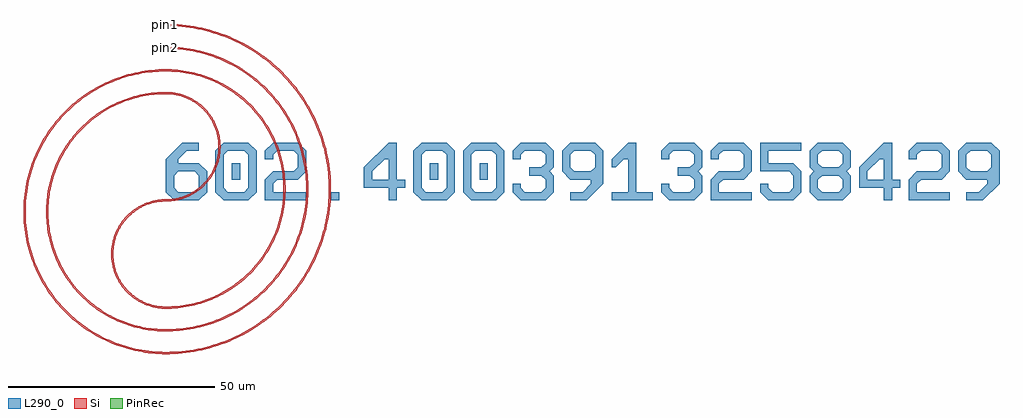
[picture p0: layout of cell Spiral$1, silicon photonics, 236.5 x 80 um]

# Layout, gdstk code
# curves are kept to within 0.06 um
import gdstk
lib = gdstk.Library(unit=1e-6, precision=1e-09)
def R(c, l, rs):  # rectangles x0, y0, x1, y1
    for r in rs: c.add(gdstk.rectangle(r[:2], r[2:], *l))
def P(c, l, *ps):  # polygons
    for p in ps: c.add(gdstk.Polygon(p, *l))
Si = (1, 0)
PinRec = (1, 10)
L290_0 = (290, 0)

spiral_1 = lib.new_cell('Spiral$1')
P(spiral_1, Si, [(0,-0.25),(0,0.25),(1.25,0.311),(2.794,0.56),(4.295,0.995),(5.451,1.474),(7.342,2.576),(8.328,3.346),(9.234,4.208),(10.051,5.156),(10.772,6.179),(11.389,7.267),(11.896,8.411),(12.505,10.513),(12.689,11.75),(12.75,13),(12.689,14.25),(12.505,15.487),(11.896,17.589),(11.389,18.733),(10.772,19.821),(10.051,20.844),(9.234,21.792),(8.328,22.654),(7.342,23.424),(5.451,24.526),(4.295,25.005),(2.794,25.44),(1.25,25.689),(0,25.75),(0,26.25),(1.299,26.186),(2.585,25.995),(3.846,25.679),(5.071,25.241),(6.246,24.685),(7.361,24.017),(8.406,23.242),(9.369,22.369),(10.242,21.406),(11.017,20.361),(11.685,19.246),(12.241,18.071),(12.679,16.846),(12.995,15.585),(13.186,14.299),(13.25,13),(13.186,11.701),(12.995,10.415),(12.679,9.154),(12.241,7.929),(11.685,6.754),(11.017,5.639),(10.242,4.594),(9.369,3.631),(8.406,2.758),(7.361,1.983),(6.246,1.315),(5.071,0.759),(3.846,0.321),(2.585,0.005),(1.299,-0.186)],
  [(0,-26.25),(-1.299,-26.186),(-2.585,-25.995),(-3.846,-25.679),(-5.071,-25.241),(-6.246,-24.685),(-7.361,-24.017),(-8.406,-23.242),(-9.369,-22.369),(-10.242,-21.406),(-11.017,-20.361),(-11.685,-19.246),(-12.241,-18.071),(-12.679,-16.846),(-12.995,-15.585),(-13.186,-14.299),(-13.25,-13),(-13.186,-11.701),(-12.928,-10.097),(-12.581,-8.844),(-11.978,-7.335),(-11.365,-6.188),(-10.446,-4.848),(-9.596,-3.864),(-8.655,-2.967),(-7.629,-2.167),(-6.531,-1.471),(-5.369,-0.887),(-4.156,-0.419),(-1.944,0.107),(1.25,0.311),(2.794,0.56),(4.589,1.104),(6.284,1.906),(8.089,3.144),(9.016,3.984),(9.856,4.911),(11.094,6.716),(11.656,7.833),(12.106,9.001),(12.44,10.206),(12.689,11.75),(12.746,13.313),(12.612,14.871),(12.368,16.098),(11.896,17.589),(11.244,19.01),(10.424,20.342),(9.654,21.328),(8.562,22.447),(7.342,23.424),(6.284,24.094),(4.589,24.896),(3.098,25.368),(1.561,25.654),(0,25.75),(0,26.25),(1.299,26.186),(2.585,25.995),(3.846,25.679),(5.071,25.241),(6.246,24.685),(7.361,24.017),(8.406,23.242),(9.369,22.369),(10.242,21.406),(11.017,20.361),(11.685,19.246),(12.241,18.071),(12.679,16.846),(12.995,15.585),(13.186,14.299),(13.25,13),(13.186,11.701),(12.928,10.097),(12.581,8.844),(11.978,7.335),(11.365,6.188),(10.446,4.848),(9.596,3.864),(8.655,2.967),(7.629,2.167),(6.531,1.471),(5.369,0.887),(4.156,0.419),(1.944,-0.107),(-1.25,-0.311),(-2.794,-0.56),(-4.589,-1.104),(-6.284,-1.906),(-8.089,-3.144),(-9.016,-3.984),(-9.856,-4.911),(-11.094,-6.716),(-11.656,-7.833),(-12.106,-9.001),(-12.44,-10.206),(-12.689,-11.75),(-12.746,-13.313),(-12.612,-14.871),(-12.368,-16.098),(-11.896,-17.589),(-11.244,-19.01),(-10.424,-20.342),(-9.654,-21.328),(-8.562,-22.447),(-7.342,-23.424),(-6.284,-24.094),(-4.589,-24.896),(-3.098,-25.368),(-1.561,-25.654),(0,-25.75)],
  [(0,-26.25),(0,-25.75),(1.398,-25.716),(3.489,-25.536),(6.244,-25.058),(8.94,-24.312),(11.549,-23.305),(13.435,-22.385),(15.834,-20.947),(18.08,-19.281),(20.153,-17.403),(22.031,-15.33),(23.697,-13.084),(25.135,-10.685),(26.331,-8.156),(27.273,-5.523),(27.952,-2.81),(28.363,-0.043),(28.5,2.75),(28.363,5.543),(27.952,8.31),(27.273,11.023),(26.331,13.656),(25.135,16.185),(23.697,18.584),(22.031,20.83),(20.153,22.903),(18.08,24.781),(15.834,26.447),(13.435,27.885),(11.549,28.805),(8.94,29.812),(6.244,30.558),(3.489,31.036),(1.398,31.216),(0,31.25),(0,31.75),(2.842,31.61),(5.658,31.193),(8.418,30.501),(11.098,29.543),(13.671,28.326),(16.112,26.863),(18.397,25.167),(20.506,23.256),(22.417,21.147),(24.113,18.862),(25.576,16.421),(26.793,13.848),(27.751,11.168),(28.443,8.408),(28.86,5.592),(29,2.75),(28.86,-0.092),(28.443,-2.908),(27.751,-5.668),(26.793,-8.348),(25.576,-10.921),(24.113,-13.362),(22.417,-15.647),(20.506,-17.756),(18.397,-19.667),(16.112,-21.363),(13.671,-22.826),(11.098,-24.043),(8.418,-25.001),(5.658,-25.693),(2.842,-26.11)],
  [(0,-31.75),(-2.842,-31.61),(-5.658,-31.193),(-8.418,-30.501),(-11.098,-29.543),(-13.671,-28.326),(-16.112,-26.863),(-18.397,-25.167),(-20.506,-23.256),(-22.417,-21.147),(-24.113,-18.862),(-25.576,-16.421),(-26.793,-13.848),(-27.751,-11.168),(-28.443,-8.408),(-28.86,-5.592),(-29,-2.75),(-28.86,0.092),(-28.443,2.908),(-27.751,5.668),(-26.793,8.348),(-25.576,10.921),(-24.113,13.362),(-22.417,15.647),(-20.506,17.756),(-18.397,19.667),(-16.112,21.363),(-13.671,22.826),(-11.098,24.043),(-8.418,25.001),(-5.658,25.693),(-2.842,26.11),(0,26.25),(0,25.75),(-1.398,25.716),(-3.489,25.536),(-6.244,25.058),(-8.94,24.312),(-11.549,23.305),(-13.435,22.385),(-15.834,20.947),(-18.08,19.281),(-20.153,17.403),(-22.031,15.33),(-23.697,13.084),(-25.135,10.685),(-26.331,8.156),(-27.273,5.523),(-27.952,2.81),(-28.363,0.043),(-28.5,-2.75),(-28.363,-5.543),(-27.952,-8.31),(-27.273,-11.023),(-26.331,-13.656),(-25.135,-16.185),(-23.697,-18.584),(-22.031,-20.83),(-20.153,-22.903),(-18.08,-24.781),(-15.834,-26.447),(-13.435,-27.885),(-11.549,-28.805),(-8.94,-29.812),(-6.244,-30.558),(-3.489,-31.036),(-1.398,-31.216),(0,-31.25)],
  [(0,-31.75),(0,-31.25),(2.501,-31.158),(4.162,-30.994),(6.633,-30.597),(8.261,-30.231),(10.665,-29.534),(13.778,-28.333),(16.759,-26.833),(18.889,-25.52),(21.569,-23.532),(24.042,-21.292),(26.282,-18.819),(28.27,-16.139),(29.985,-13.277),(31.412,-10.261),(32.536,-7.12),(33.347,-3.883),(33.836,-0.583),(34,2.75),(33.836,6.083),(33.347,9.383),(32.536,12.62),(31.412,15.761),(29.985,18.777),(28.27,21.639),(26.282,24.319),(24.042,26.792),(21.569,29.032),(18.889,31.02),(16.759,32.333),(13.778,33.833),(10.665,35.034),(8.261,35.731),(6.633,36.097),(4.162,36.494),(2.501,36.658),(0,36.75),(0,37.25),(3.382,37.084),(6.731,36.587),(10.015,35.764),(13.203,34.624),(16.263,33.176),(19.167,31.436),(21.887,29.419),(24.395,27.145),(26.669,24.637),(28.686,21.917),(30.426,19.013),(31.874,15.953),(33.014,12.765),(33.837,9.481),(34.334,6.132),(34.5,2.75),(34.334,-0.632),(33.837,-3.981),(33.014,-7.265),(31.874,-10.453),(30.426,-13.513),(28.686,-16.417),(26.669,-19.137),(24.395,-21.645),(21.887,-23.919),(19.167,-25.936),(16.263,-27.676),(13.203,-29.124),(10.015,-30.264),(6.731,-31.087),(3.382,-31.584)],
  [(0,-37.25),(-3.382,-37.084),(-6.731,-36.587),(-10.015,-35.764),(-13.203,-34.624),(-16.263,-33.176),(-19.167,-31.436),(-21.887,-29.419),(-24.395,-27.145),(-26.669,-24.637),(-28.686,-21.917),(-30.426,-19.013),(-31.874,-15.953),(-33.014,-12.765),(-33.837,-9.481),(-34.334,-6.132),(-34.5,-2.75),(-34.334,0.632),(-33.837,3.981),(-33.014,7.265),(-31.874,10.453),(-30.426,13.513),(-28.686,16.417),(-26.669,19.137),(-24.395,21.645),(-21.887,23.919),(-19.167,25.936),(-16.263,27.676),(-13.203,29.124),(-10.015,30.264),(-6.731,31.087),(-3.382,31.584),(0,31.75),(0,31.25),(-2.501,31.158),(-4.162,30.994),(-6.633,30.597),(-8.261,30.231),(-10.665,29.534),(-13.778,28.333),(-16.759,26.833),(-18.889,25.52),(-21.569,23.532),(-24.042,21.292),(-26.282,18.819),(-28.27,16.139),(-29.985,13.277),(-31.412,10.261),(-32.536,7.12),(-33.347,3.883),(-33.836,0.583),(-34,-2.75),(-33.836,-6.083),(-33.347,-9.383),(-32.536,-12.62),(-31.412,-15.761),(-29.985,-18.777),(-28.27,-21.639),(-26.282,-24.319),(-24.042,-26.792),(-21.569,-29.032),(-18.889,-31.02),(-16.759,-32.333),(-13.778,-33.833),(-10.665,-35.034),(-8.261,-35.731),(-6.633,-36.097),(-4.162,-36.494),(-2.501,-36.658),(0,-36.75)],
  [(0,-37.25),(0,-36.75),(2.906,-36.643),(4.835,-36.453),(7.706,-35.991),(9.598,-35.566),(13.307,-34.441),(16.007,-33.361),(19.469,-31.618),(22.744,-29.545),(25.059,-27.784),(27.931,-25.181),(30.534,-22.309),(32.843,-19.195),(34.836,-15.87),(36.493,-12.366),(37.799,-8.716),(38.741,-4.956),(39.31,-1.122),(39.5,2.75),(39.31,6.622),(38.741,10.456),(37.799,14.216),(36.493,17.866),(34.836,21.37),(32.843,24.695),(30.534,27.809),(27.931,30.681),(25.059,33.284),(22.744,35.045),(19.469,37.118),(16.007,38.861),(13.307,39.941),(9.598,41.066),(7.706,41.491),(4.835,41.953),(2.906,42.143),(0,42.25),(0,42.75),(3.921,42.557),(7.804,41.981),(11.611,41.028),(15.307,39.705),(18.856,38.027),(22.223,36.009),(25.376,33.67),(28.284,31.034),(30.92,28.126),(33.259,24.973),(35.277,21.606),(36.955,18.057),(38.278,14.361),(39.231,10.554),(39.807,6.671),(40,2.75),(39.807,-1.171),(39.231,-5.054),(38.278,-8.861),(36.955,-12.557),(35.277,-16.106),(33.259,-19.473),(30.92,-22.626),(28.284,-25.534),(25.376,-28.17),(22.223,-30.509),(18.856,-32.527),(15.307,-34.205),(11.611,-35.528),(7.804,-36.481),(3.921,-37.057)])
R(spiral_1, L290_0, [(40,0,42,2), (16,5,18,9), (64,5,66,9), (76,5,78,9)])
P(spiral_1, L290_0, [(2,0),(0,2),(0,10),(4,14),(8,14),(8,12),(5,12),(3,10),(3,9),(8,9),(10,7),(3,7),(2,6),(2,3),(3,2),(7,2),(8,3),(8,6),(7,7),(10,7),(10,2),(8,0)],
  [(14,0),(12,2),(12,12),(14,14),(20,14),(22,12),(15,12),(14,11),(14,3),(15,2),(19,2),(20,3),(20,11),(19,12),(22,12),(22,2),(20,0)],
  [(24,0),(24,5),(26,7),(31,7),(32,8),(32,11),(31,12),(27,12),(26,11),(26,10),(24,10),(24,12),(26,14),(32,14),(34,12),(34,7),(32,5),(27,5),(26,4),(26,2),(34,2),(34,0)],
  [(54,0),(54,3),(48,3),(48,5),(54,5),(54,10),(53,10),(50,7),(50,5),(48,5),(48,8),(54,14),(56,14),(56,5),(58,5),(58,3),(56,3),(56,0)],
  [(62,0),(60,2),(60,12),(62,14),(68,14),(70,12),(63,12),(62,11),(62,3),(63,2),(67,2),(68,3),(68,11),(67,12),(70,12),(70,2),(68,0)],
  [(74,0),(72,2),(72,12),(74,14),(80,14),(82,12),(75,12),(74,11),(74,3),(75,2),(79,2),(80,3),(80,11),(79,12),(82,12),(82,2),(80,0)],
  [(86,0),(84,2),(84,4),(86,4),(86,3),(87,2),(91,2),(92,3),(92,5),(91,6),(88,6),(88,8),(91,8),(92,9),(92,11),(91,12),(87,12),(86,11),(86,10),(84,10),(84,12),(86,14),(92,14),(94,12),(94,8),(93,7),(94,6),(94,2),(92,0)],
  [(98,0),(98,2),(101,2),(103,4),(103,5),(98,5),(96,7),(103,7),(104,8),(104,11),(103,12),(99,12),(98,11),(98,8),(99,7),(96,7),(96,12),(98,14),(104,14),(106,12),(106,4),(102,0)],
  [(108,0),(108,2),(112,2),(112,10),(111,10),(109,8),(108,8),(108,10),(112,14),(114,14),(114,2),(118,2),(118,0)],
  [(122,0),(120,2),(120,4),(122,4),(122,3),(123,2),(127,2),(128,3),(128,5),(127,6),(124,6),(124,8),(127,8),(128,9),(128,11),(127,12),(123,12),(122,11),(122,10),(120,10),(120,12),(122,14),(128,14),(130,12),(130,8),(129,7),(130,6),(130,2),(128,0)],
  [(132,0),(132,5),(134,7),(139,7),(140,8),(140,11),(139,12),(135,12),(134,11),(134,10),(132,10),(132,12),(134,14),(140,14),(142,12),(142,7),(140,5),(135,5),(134,4),(134,2),(142,2),(142,0)],
  [(146,0),(144,2),(144,4),(146,4),(146,3),(147,2),(151,2),(152,3),(152,6),(151,7),(144,7),(144,14),(154,14),(154,12),(146,12),(146,9),(152,9),(154,7),(154,2),(152,0)],
  [(158,0),(156,2),(156,6),(157,7),(156,8),(156,12),(158,14),(164,14),(166,12),(159,12),(158,11),(158,9),(159,8),(163,8),(164,9),(164,11),(163,12),(166,12),(166,8),(165,7),(166,6),(159,6),(158,5),(158,3),(159,2),(163,2),(164,3),(164,5),(163,6),(166,6),(166,2),(164,0)],
  [(174,0),(174,3),(168,3),(168,5),(174,5),(174,10),(173,10),(170,7),(170,5),(168,5),(168,8),(174,14),(176,14),(176,5),(178,5),(178,3),(176,3),(176,0)],
  [(180,0),(180,5),(182,7),(187,7),(188,8),(188,11),(187,12),(183,12),(182,11),(182,10),(180,10),(180,12),(182,14),(188,14),(190,12),(190,7),(188,5),(183,5),(182,4),(182,2),(190,2),(190,0)],
  [(194,0),(194,2),(197,2),(199,4),(199,5),(194,5),(192,7),(199,7),(200,8),(200,11),(199,12),(195,12),(194,11),(194,8),(195,7),(192,7),(192,12),(194,14),(200,14),(202,12),(202,4),(198,0)])
spiral_1.add(gdstk.FlexPath([(0.05,42.5),(-0.05,42.5)], 0.5, ends="flush", simple_path=True, layer=1, datatype=10))  # PinRec
spiral_1.add(gdstk.FlexPath([(0.05,37),(-0.05,37)], 0.5, ends="flush", simple_path=True, layer=1, datatype=10))  # PinRec
spiral_1.add(gdstk.Label('pin1', (0,42.5), layer=1, texttype=10))
spiral_1.add(gdstk.Label('pin2', (0,37), layer=1, texttype=10))

lib.write_gds('Spiral_1.gds')
